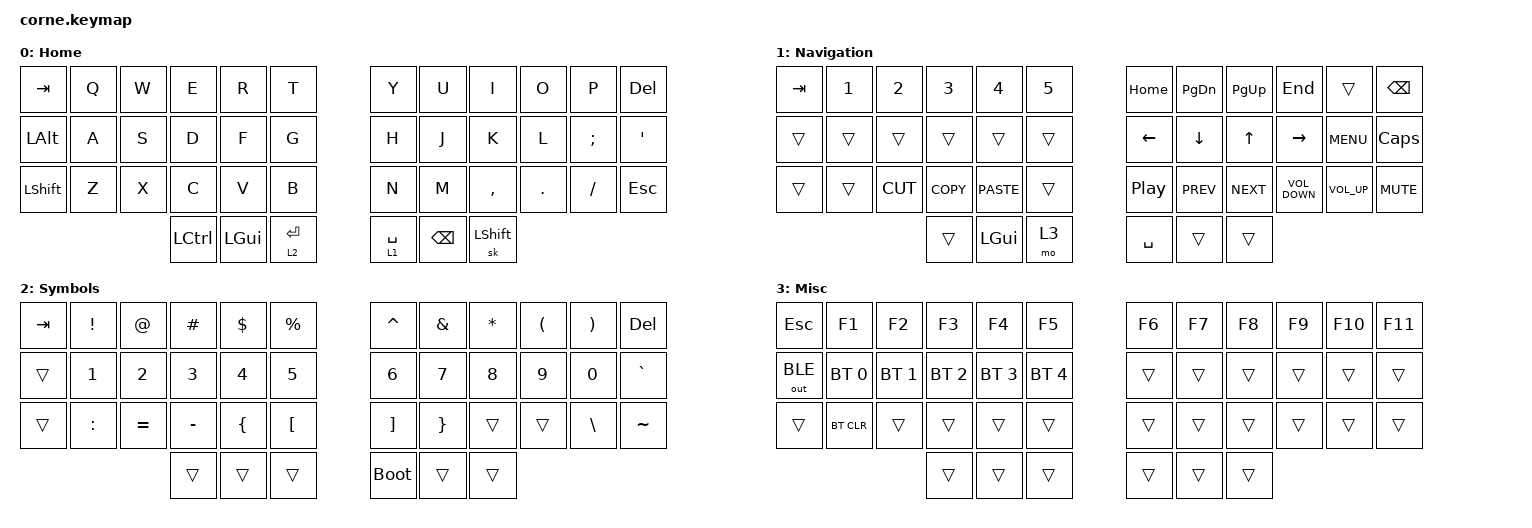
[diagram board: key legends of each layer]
/*
 * Copyright (c) 2020 The ZMK Contributors
 *
 * SPDX-License-Identifier: MIT
 */

#include <behaviors.dtsi>
#include <dt-bindings/zmk/bt.h>
#include <dt-bindings/zmk/keys.h>
#include <dt-bindings/zmk/outputs.h>

/ {
    combos {
        compatible = "zmk,combos";

        df_escape {
            bindings = <&kp ESCAPE>;
            key-positions = <15 16>;
            layers = <0>;
        };
    };

    behaviors {
        new_behavior: new_behavior {
            compatible = "zmk,behavior-sticky-key";
            label = "NEW_BEHAVIOR";
            bindings = <&none>;
            #binding-cells = <1>;
            release-after-ms = <1500>;
            quick-release;
        };
    };

    keymap {
        compatible = "zmk,keymap";

        Home {
            // -----------------------------------------------------------------------------------------
            // |  TAB |  Q  |  W  |  E  |  R  |  T  |   |  Y  |  U   |  I  |  O  |  P  | BKSP |
            // | CTRL |  A  |  S  |  D  |  F  |  G  |   |  H  |  J   |  K  |  L  |  ;  |  '   |
            // | SHFT |  Z  |  X  |  C  |  V  |  B  |   |  N  |  M   |  ,  |  .  |  /  | ESC  |
            //                    | GUI | LWR | ENT |   | SPC | RSE  | ALT |

            bindings = <
&kp TAB       &kp Q  &kp W  &kp E             &kp R         &kp T          &kp Y        &kp U          &kp I           &kp O    &kp P     &kp DELETE
&kp LEFT_ALT  &kp A  &kp S  &kp D             &kp F         &kp G          &kp H        &kp J          &kp K           &kp L    &kp SEMI  &kp SQT
&kp LSHFT     &kp Z  &kp X  &kp C             &kp V         &kp B          &kp N        &kp M          &kp COMMA       &kp DOT  &kp FSLH  &kp ESC
                            &kp LEFT_CONTROL  &kp LEFT_GUI  &lt 2 ENTER    &lt 1 SPACE  &kp BACKSPACE  &sk LEFT_SHIFT
            >;
        };

        Navigation {
            // -----------------------------------------------------------------------------------------
            // |  TAB |  1  |  2  |  3  |  4  |  5  |   |  6  |  7  |  8  |  9  |  0  | BKSP |
            // | BTCLR| BT1 | BT2 | BT3 | BT4 | BT5 |   | LFT | DWN |  UP | RGT |     |      |
            // | SHFT |     |     |     |     |     |   |     |     |     |     |     |      |
            //                    | GUI |     | ENT |   | SPC |     | ALT |

            bindings = <
&kp TAB  &kp N1  &kp N2     &kp N3      &kp N4       &kp N5    &kp HOME          &kp PAGE_DOWN  &kp PAGE_UP  &kp END            &trans           &kp BSPC
&trans   &trans  &trans     &trans      &trans       &trans    &kp LEFT          &kp DOWN       &kp UP       &kp RIGHT          &kp K_MENU       &kp CAPSLOCK
&trans   &trans  &kp K_CUT  &kp K_COPY  &kp K_PASTE  &trans    &kp C_PLAY_PAUSE  &kp C_PREV     &kp C_NEXT   &kp C_VOLUME_DOWN  &kp C_VOLUME_UP  &kp C_MUTE
                            &trans      &kp LGUI     &mo 3     &kp SPACE         &trans         &trans
            >;
        };

        Symbols {
            // -----------------------------------------------------------------------------------------
            // |  TAB |  !  |  @  |  #  |  $  |  %  |   |  ^  |  &  |  *  |  (  |  )  | BKSP |
            // | CTRL |     |     |     |     |     |   |  -  |  =  |  [  |  ]  |  \  |  `   |
            // | SHFT |     |     |     |     |     |   |  _  |  +  |  {  |  }  | "|" |  ~   |
            //                    | GUI |     | ENT |   | SPC |     | ALT |

            bindings = <
&kp TAB  &kp EXCL      &kp AT        &kp HASH      &kp DLLR        &kp PRCNT           &kp CARET          &kp AMPS         &kp ASTRK     &kp LPAR      &kp RPAR       &kp DELETE
&trans   &kp NUMBER_1  &kp NUMBER_2  &kp NUMBER_3  &kp NUMBER_4    &kp NUMBER_5        &kp NUMBER_6       &kp NUMBER_7     &kp NUMBER_8  &kp NUMBER_9  &kp NUMBER_0   &kp GRAVE
&trans   &kp COLON     &kp EQUAL     &kp MINUS     &kp LEFT_BRACE  &kp LEFT_BRACKET    &kp RIGHT_BRACKET  &kp RIGHT_BRACE  &trans        &trans        &kp BACKSLASH  &kp TILDE
                                     &trans        &trans          &trans              &bootloader        &trans           &trans
            >;
        };

        Misc {
            bindings = <
&kp ESC       &kp F1        &kp F2        &kp F3        &kp F4        &kp F5          &kp F6  &kp F7  &kp F8  &kp F9  &kp F10  &kp F11
&out OUT_BLE  &bt BT_SEL 0  &bt BT_SEL 1  &bt BT_SEL 2  &bt BT_SEL 3  &bt BT_SEL 4    &trans  &trans  &trans  &trans  &trans   &trans
&trans        &bt BT_CLR    &trans        &trans        &trans        &trans          &trans  &trans  &trans  &trans  &trans   &trans
                                          &trans        &trans        &trans          &trans  &trans  &trans
            >;
        };
    };
};
